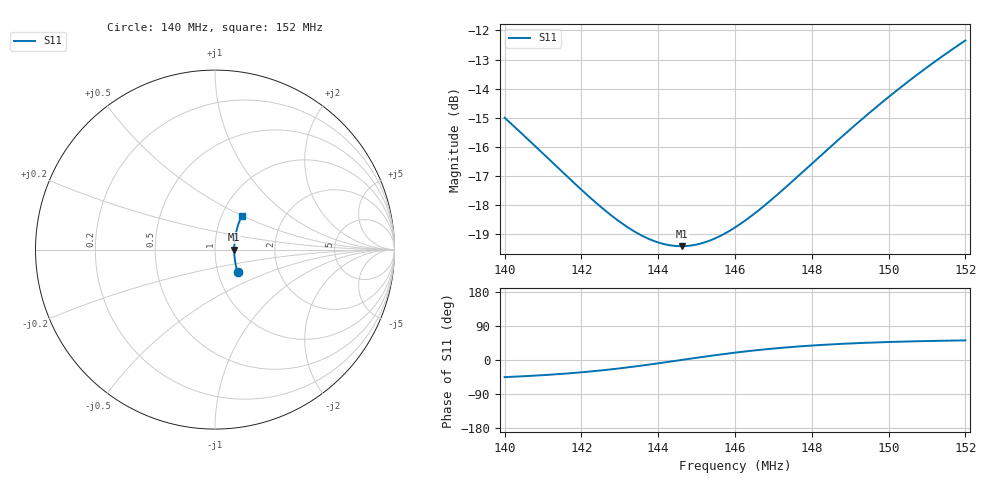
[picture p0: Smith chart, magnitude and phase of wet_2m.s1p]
! Synthetic NanoVNA-style sweep for s1pdiff self-test
# Hz S RI R 50
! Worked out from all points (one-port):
!   201 points, 140 MHz to 152 MHz, reference 50 ohm
!   lowest |S11| = -19.4 dB at 144.6 MHz (marker M1), VSWR 1.24, Z = 62 + j0.0692 ohm
!   |S11| at or under -10 dB: start of sweep to end of sweep
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1.4e8  0.1254 -0.1263
1.406e8  0.1209 -0.1101
1.415e8  0.1154 -0.0856
1.4198e8  0.1131 -0.0724
1.4234e8  0.1115 -0.0625
1.427e8  0.1102 -0.0525
1.43e8  0.1093 -0.0442
1.4342e8  0.1083 -0.0326
1.4378e8  0.1077 -0.0227
1.4396e8  0.1075 -0.0177
1.4414e8  0.1073 -0.0127
1.4432e8  0.1072 -0.00773
1.445e8  0.1072 -0.00276
1.4462e8  0.1071 0.000551
1.4492e8  0.1072 0.00881
1.451e8  0.1074 0.0138
1.4528e8  0.1075 0.0187
1.4564e8  0.1081 0.0285
1.46e8  0.1088 0.0383
1.463e8  0.1096 0.0465
1.4666e8  0.1107 0.0562
1.4702e8  0.112 0.0658
1.475e8  0.1141 0.0785
1.49e8  0.1229 0.1174
1.4978e8  0.1287 0.1369
1.505e8  0.1347 0.1545
1.5122e8  0.1415 0.1716
1.52e8  0.1494 0.1896
